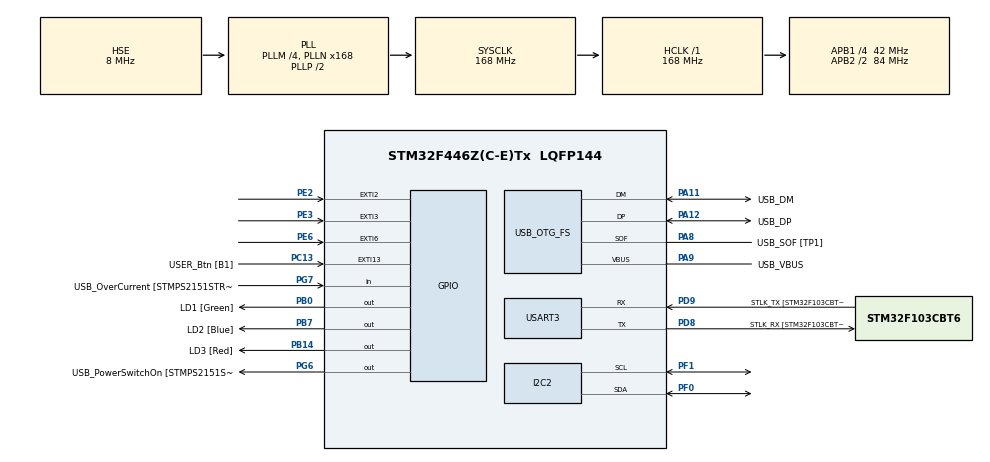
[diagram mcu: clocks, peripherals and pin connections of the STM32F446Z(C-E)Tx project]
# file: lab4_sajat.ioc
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Mcu.Family=STM32F4
Mcu.Name=STM32F446Z(C-E)Tx
Mcu.Package=LQFP144
NVIC.PriorityGroup=NVIC_PRIORITYGROUP_4
PA10.GPIO_Label=USB_ID
PA10.Signal=USB_OTG_FS_ID
PA11.GPIO_Label=USB_DM
PA11.Mode=Device_Only
PA11.Signal=USB_OTG_FS_DM
PA12.GPIO_Label=USB_DP
PA12.Mode=Device_Only
PA12.Signal=USB_OTG_FS_DP
PA13.GPIO_Label=TMS
PA13.Mode=Serial_Wire
PA13.Signal=SYS_JTMS-SWDIO
PA14.GPIO_Label=TCK
PA14.Mode=Serial_Wire
PA14.Signal=SYS_JTCK-SWCLK
PA8.GPIO_Label=USB_SOF [TP1]
PA8.Mode=Activate_SOF_FS
PA8.Signal=USB_OTG_FS_SOF
PA9.GPIO_Label=USB_VBUS
PA9.Mode=Activate_VBUS
PA9.Signal=USB_OTG_FS_VBUS
PB0.GPIO_Label=LD1 [Green]
PB0.Signal=GPIO_Output
PB14.GPIO_Label=LD3 [Red]
PB14.Signal=GPIO_Output
PB7.GPIO_Label=LD2 [Blue]
PB7.Signal=GPIO_Output
PC13.GPIO_Label=USER_Btn [B1]
PC13.Signal=GPXTI13
PC14-OSC32_IN.Mode=LSE-External-Oscillator
PC14-OSC32_IN.Signal=RCC_OSC32_IN
PC15-OSC32_OUT.Mode=LSE-External-Oscillator
PC15-OSC32_OUT.Signal=RCC_OSC32_OUT
PD8.GPIO_Label=STLK_RX [STM32F103CBT6_PA3]
PD8.Mode=Asynchronous
PD8.Signal=USART3_TX
PD9.GPIO_Label=STLK_TX [STM32F103CBT6_PA2]
PD9.Mode=Asynchronous
PD9.Signal=USART3_RX
PE2.GPIO_PuPd=GPIO_PULLDOWN
PE2.Signal=GPXTI2
PE3.GPIO_PuPd=GPIO_PULLDOWN
PE3.Signal=GPXTI3
PE6.GPIO_PuPd=GPIO_PULLDOWN
PE6.Signal=GPXTI6
PF0.Mode=I2C
PF0.Signal=I2C2_SDA
PF1.Mode=I2C
PF1.Signal=I2C2_SCL
PG6.GPIO_Label=USB_PowerSwitchOn [STMPS2151STR_EN]
PG6.Signal=GPIO_Output
PG7.GPIO_Label=USB_OverCurrent [STMPS2151STR_FAULT]
PG7.Signal=GPIO_Input
PH0-OSC_IN.GPIO_Label=MCO [STM32F103CBT6_PA8]
PH0-OSC_IN.Mode=HSE-External-Clock-Source
PH0-OSC_IN.Signal=RCC_OSC_IN
PH1-OSC_OUT.Mode=HSE-External-Clock-Source
PH1-OSC_OUT.Signal=RCC_OSC_OUT
ProjectManager.HeapSize=0x200
ProjectManager.StackSize=0x400
ProjectManager.TargetToolchain=STM32CubeIDE
RCC.48MHZClocksFreq_Value=24000000
RCC.AHBFreq_Value=168000000
RCC.APB1CLKDivider=RCC_HCLK_DIV4
RCC.APB1Freq_Value=42000000
RCC.APB1TimFreq_Value=84000000
RCC.APB2CLKDivider=RCC_HCLK_DIV2
RCC.APB2Freq_Value=84000000
RCC.APB2TimFreq_Value=168000000
RCC.CortexFreq_Value=168000000
RCC.HCLKFreq_Value=168000000
RCC.HSE_VALUE=8000000
RCC.HSI_VALUE=16000000
RCC.PLLM=4
RCC.PLLMUL=RCC_PLL_MUL9
RCC.PLLN=168
RCC.PLLQ=7
RCC.PRESCALERUSB=RCC_USBCLKSOURCE_PLL_DIV1_5
RCC.SYSCLKFreq_VALUE=168000000
RCC.SYSCLKSource=RCC_SYSCLKSOURCE_PLLCLK
RCC.SYSCLKSourceVirtual=RCC_SYSCLKSOURCE_PLLCLK
RCC.USBFreq_Value=48000000
RCC.VCOOutputFreq_Value=336000000
USART3.VirtualMode=VM_ASYNC
USB_OTG_FS.VirtualMode=Device_Only
board=NUCLEO-F446ZE

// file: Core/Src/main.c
/* USER CODE BEGIN Header */
/**
  ******************************************************************************
  * @file           : main.c
  * @brief          : Main program body
  ******************************************************************************
  * @attention
  *
  * Copyright (c) 2026 STMicroelectronics.
  * All rights reserved.
  *
  ******************************************************************************
  */
/* USER CODE END Header */

#include "main.h"

/* USER CODE BEGIN Includes */

#include "OLED.h"
#include <stdio.h>

/* USER CODE END Includes */

I2C_HandleTypeDef hi2c2;

UART_HandleTypeDef huart3;

PCD_HandleTypeDef hpcd_USB_OTG_FS;

/* USER CODE BEGIN PV */

/* Aktualis szint 0 es 100 kozott */
uint8_t level = 50;

/* USER CODE END PV */

void SystemClock_Config(void);

static void MX_GPIO_Init(void);
static void MX_USART3_UART_Init(void);
static void MX_USB_OTG_FS_PCD_Init(void);
static void MX_I2C2_Init(void);

/* USER CODE BEGIN PFP */

void OLED_ShowLevel(uint8_t value);

/* USER CODE END PFP */

/* USER CODE BEGIN 0 */

/**
  * @brief Szint kijelzese az OLED kijelzon
  */
void OLED_ShowLevel(uint8_t value)
{
    char text[10];
    uint16_t bar_width;

    /* Kijelzo torles */
    OLED_Fill(BLACK);

    /* Cim */
    OLED_SetCursor(36, 2);
    OLED_WriteString("SZINT", Font_11x18, WHITE);

    /* Szazalek szovegge alakitasa */
    sprintf(text, "%d %%", (int)value);

    /* Szazalek kiirasa */
    OLED_SetCursor(40, 25);
    OLED_WriteString(text, Font_11x18, WHITE);

    /* Szintjelzo kerete */
    OLED_DrawRectangle(10, 50, 117, 62, WHITE);

    /* 0-100% -> 0-104 pixel */
    bar_width = ((uint16_t)value * 104) / 100;

    /* Sav kitoltese */
    for (uint16_t x = 12; x < (12 + bar_width); x++)
    {
        OLED_DrawLine(
            (uint8_t)x,
            52,
            (uint8_t)x,
            60,
            WHITE
        );
    }

    /* Kijelzo frissitese */
    OLED_UpdateScreen();
}

/* USER CODE END 0 */

int main(void)
{

  /* MCU Configuration--------------------------------------------------------*/

  HAL_Init();

  /* Configure the system clock */
  SystemClock_Config();

  /* Initialize all configured peripherals */

  MX_GPIO_Init();

  MX_USART3_UART_Init();

  MX_USB_OTG_FS_PCD_Init();

  MX_I2C2_Init();

  /* USER CODE BEGIN 2 */

  /* OLED inicializalasa */
  OLED_Init();

  HAL_Delay(500);

  /* Kezdo ertek megjelenitese */
  OLED_ShowLevel(level);

  /* USER CODE END 2 */

  /* Infinite loop */

  /* USER CODE BEGIN WHILE */

  while (1)
  {

      /*
       * ============================================
       * PE2 - ELSO GOMB
       * SZINT CSOKKENTESE 10%-KAL
       * ============================================
       */

      if (HAL_GPIO_ReadPin(GPIOE, GPIO_PIN_2) == GPIO_PIN_SET)
      {
          /* Pergesmentesites */
          HAL_Delay(30);

          if (HAL_GPIO_ReadPin(GPIOE, GPIO_PIN_2) == GPIO_PIN_SET)
          {
              if (level >= 10)
              {
                  level -= 10;
              }
              else
              {
                  level = 0;
              }

              OLED_ShowLevel(level);

              /*
               * Megvarjuk a gomb felengedeset,
               * igy egy nyomas csak egyszer szamit.
               */
              while (HAL_GPIO_ReadPin(GPIOE, GPIO_PIN_2) == GPIO_PIN_SET)
              {
              }

              HAL_Delay(30);
          }
      }

      /*
       * ============================================
       * PE3 - MASODIK GOMB
       * SZINT NOVELESE 10%-KAL
       * ============================================
       */

      if (HAL_GPIO_ReadPin(GPIOE, GPIO_PIN_3) == GPIO_PIN_SET)
      {
          HAL_Delay(30);

          if (HAL_GPIO_ReadPin(GPIOE, GPIO_PIN_3) == GPIO_PIN_SET)
          {
              if (level <= 90)
              {
                  level += 10;
              }
              else
              {
                  level = 100;
              }

              OLED_ShowLevel(level);

              while (HAL_GPIO_ReadPin(GPIOE, GPIO_PIN_3) == GPIO_PIN_SET)
              {
              }

              HAL_Delay(30);
          }
      }

      /*
       * ============================================
       * PE6 - HARMADIK GOMB
       * RESET 50%-RA
       * ============================================
       */

      if (HAL_GPIO_ReadPin(GPIOE, GPIO_PIN_6) == GPIO_PIN_SET)
      {
          HAL_Delay(30);

          if (HAL_GPIO_ReadPin(GPIOE, GPIO_PIN_6) == GPIO_PIN_SET)
          {
              level = 50;

              OLED_ShowLevel(level);

              while (HAL_GPIO_ReadPin(GPIOE, GPIO_PIN_6) == GPIO_PIN_SET)
              {
              }

              HAL_Delay(30);
          }
      }

    /* USER CODE END WHILE */

  }
}

void SystemClock_Config(void)
{

  RCC_OscInitTypeDef RCC_OscInitStruct = {0};
  RCC_ClkInitTypeDef RCC_ClkInitStruct = {0};

  /** Configure the main internal regulator output voltage
  */
  __HAL_RCC_PWR_CLK_ENABLE();

  __HAL_PWR_VOLTAGESCALING_CONFIG(
      PWR_REGULATOR_VOLTAGE_SCALE1
  );

  /** Initializes the RCC Oscillators according to the specified parameters
  * in the RCC_OscInitTypeDef structure.
  */
  RCC_OscInitStruct.OscillatorType =
      RCC_OSCILLATORTYPE_HSE;

  RCC_OscInitStruct.HSEState =
      RCC_HSE_BYPASS;

  RCC_OscInitStruct.PLL.PLLState =
      RCC_PLL_ON;

  RCC_OscInitStruct.PLL.PLLSource =
      RCC_PLLSOURCE_HSE;

  RCC_OscInitStruct.PLL.PLLM = 4;

  RCC_OscInitStruct.PLL.PLLN = 168;

  RCC_OscInitStruct.PLL.PLLP =
      RCC_PLLP_DIV2;

  RCC_OscInitStruct.PLL.PLLQ = 7;

  RCC_OscInitStruct.PLL.PLLR = 2;

  if (HAL_RCC_OscConfig(&RCC_OscInitStruct) != HAL_OK)
  {
      Error_Handler();
  }

  /** Initializes the CPU, AHB and APB buses clocks
  */
  RCC_ClkInitStruct.ClockType =
      RCC_CLOCKTYPE_HCLK |
      RCC_CLOCKTYPE_SYSCLK |
      RCC_CLOCKTYPE_PCLK1 |
      RCC_CLOCKTYPE_PCLK2;

  RCC_ClkInitStruct.SYSCLKSource =
      RCC_SYSCLKSOURCE_PLLCLK;

  RCC_ClkInitStruct.AHBCLKDivider =
      RCC_SYSCLK_DIV1;

  RCC_ClkInitStruct.APB1CLKDivider =
      RCC_HCLK_DIV4;

  RCC_ClkInitStruct.APB2CLKDivider =
      RCC_HCLK_DIV2;

  if (HAL_RCC_ClockConfig(
          &RCC_ClkInitStruct,
          FLASH_LATENCY_5) != HAL_OK)
  {
      Error_Handler();
  }
}

static void MX_I2C2_Init(void)
{

  hi2c2.Instance = I2C2;

  hi2c2.Init.ClockSpeed = 100000;

  hi2c2.Init.DutyCycle =
      I2C_DUTYCYCLE_2;

  hi2c2.Init.OwnAddress1 = 0;

  hi2c2.Init.AddressingMode =
      I2C_ADDRESSINGMODE_7BIT;

  hi2c2.Init.DualAddressMode =
      I2C_DUALADDRESS_DISABLE;

  hi2c2.Init.OwnAddress2 = 0;

  hi2c2.Init.GeneralCallMode =
      I2C_GENERALCALL_DISABLE;

  hi2c2.Init.NoStretchMode =
      I2C_NOSTRETCH_DISABLE;

  if (HAL_I2C_Init(&hi2c2) != HAL_OK)
  {
      Error_Handler();
  }

}

static void MX_USART3_UART_Init(void)
{

  huart3.Instance = USART3;

  huart3.Init.BaudRate = 115200;

  huart3.Init.WordLength =
      UART_WORDLENGTH_8B;

  huart3.Init.StopBits =
      UART_STOPBITS_1;

  huart3.Init.Parity =
      UART_PARITY_NONE;

  huart3.Init.Mode =
      UART_MODE_TX_RX;

  huart3.Init.HwFlowCtl =
      UART_HWCONTROL_NONE;

  huart3.Init.OverSampling =
      UART_OVERSAMPLING_16;

  if (HAL_UART_Init(&huart3) != HAL_OK)
  {
      Error_Handler();
  }

}

static void MX_USB_OTG_FS_PCD_Init(void)
{

  hpcd_USB_OTG_FS.Instance =
      USB_OTG_FS;

  hpcd_USB_OTG_FS.Init.dev_endpoints =
      6;

  hpcd_USB_OTG_FS.Init.speed =
      PCD_SPEED_FULL;

  hpcd_USB_OTG_FS.Init.dma_enable =
      DISABLE;

  hpcd_USB_OTG_FS.Init.phy_itface =
      PCD_PHY_EMBEDDED;

  hpcd_USB_OTG_FS.Init.Sof_enable =
      ENABLE;

  hpcd_USB_OTG_FS.Init.low_power_enable =
      DISABLE;

  hpcd_USB_OTG_FS.Init.lpm_enable =
      DISABLE;

  hpcd_USB_OTG_FS.Init.vbus_sensing_enable =
      ENABLE;

  hpcd_USB_OTG_FS.Init.use_dedicated_ep1 =
      DISABLE;

  if (HAL_PCD_Init(&hpcd_USB_OTG_FS) != HAL_OK)
  {
      Error_Handler();
  }

}

static void MX_GPIO_Init(void)
{

  GPIO_InitTypeDef GPIO_InitStruct = {0};

  /* GPIO Ports Clock Enable */

  __HAL_RCC_GPIOE_CLK_ENABLE();

  __HAL_RCC_GPIOC_CLK_ENABLE();

  __HAL_RCC_GPIOF_CLK_ENABLE();

  __HAL_RCC_GPIOH_CLK_ENABLE();

  __HAL_RCC_GPIOB_CLK_ENABLE();

  __HAL_RCC_GPIOD_CLK_ENABLE();

  __HAL_RCC_GPIOG_CLK_ENABLE();

  __HAL_RCC_GPIOA_CLK_ENABLE();

  /*Configure GPIO pin Output Level */

  HAL_GPIO_WritePin(
      GPIOB,
      LD1_Pin | LD3_Pin | LD2_Pin,
      GPIO_PIN_RESET
  );

  /*Configure GPIO pin Output Level */

  HAL_GPIO_WritePin(
      USB_PowerSwitchOn_GPIO_Port,
      USB_PowerSwitchOn_Pin,
      GPIO_PIN_RESET
  );

  /*
   * PE2, PE3, PE6
   *
   * Jelenlegi CubeMX beallitas:
   *
   * External Interrupt Rising
   * Pull-down
   *
   * HAL_GPIO_ReadPin()-nel ettol meg
   * beolvashatoak a pinek.
   */

  GPIO_InitStruct.Pin =
      GPIO_PIN_2 |
      GPIO_PIN_3 |
      GPIO_PIN_6;

  GPIO_InitStruct.Mode =
      GPIO_MODE_IT_RISING;

  GPIO_InitStruct.Pull =
      GPIO_PULLDOWN;

  HAL_GPIO_Init(
      GPIOE,
      &GPIO_InitStruct
  );

  /* USER BUTTON */

  GPIO_InitStruct.Pin =
      USER_Btn_Pin;

  GPIO_InitStruct.Mode =
      GPIO_MODE_IT_RISING;

  GPIO_InitStruct.Pull =
      GPIO_NOPULL;

  HAL_GPIO_Init(
      USER_Btn_GPIO_Port,
      &GPIO_InitStruct
  );

  /* LEDs */

  GPIO_InitStruct.Pin =
      LD1_Pin |
      LD3_Pin |
      LD2_Pin;

  GPIO_InitStruct.Mode =
      GPIO_MODE_OUTPUT_PP;

  GPIO_InitStruct.Pull =
      GPIO_NOPULL;

  GPIO_InitStruct.Speed =
      GPIO_SPEED_FREQ_LOW;

  HAL_GPIO_Init(
      GPIOB,
      &GPIO_InitStruct
  );

  /* USB Power Switch */

  GPIO_InitStruct.Pin =
      USB_PowerSwitchOn_Pin;

  GPIO_InitStruct.Mode =
      GPIO_MODE_OUTPUT_PP;

  GPIO_InitStruct.Pull =
      GPIO_NOPULL;

  GPIO_InitStruct.Speed =
      GPIO_SPEED_FREQ_LOW;

  HAL_GPIO_Init(
      USB_PowerSwitchOn_GPIO_Port,
      &GPIO_InitStruct
  );

  /* USB OverCurrent */

  GPIO_InitStruct.Pin =
      USB_OverCurrent_Pin;

  GPIO_InitStruct.Mode =
      GPIO_MODE_INPUT;

  GPIO_InitStruct.Pull =
      GPIO_NOPULL;

  HAL_GPIO_Init(
      USB_OverCurrent_GPIO_Port,
      &GPIO_InitStruct
  );

}

void Error_Handler(void)
{

  __disable_irq();
  while (1)
  {
  }
}
